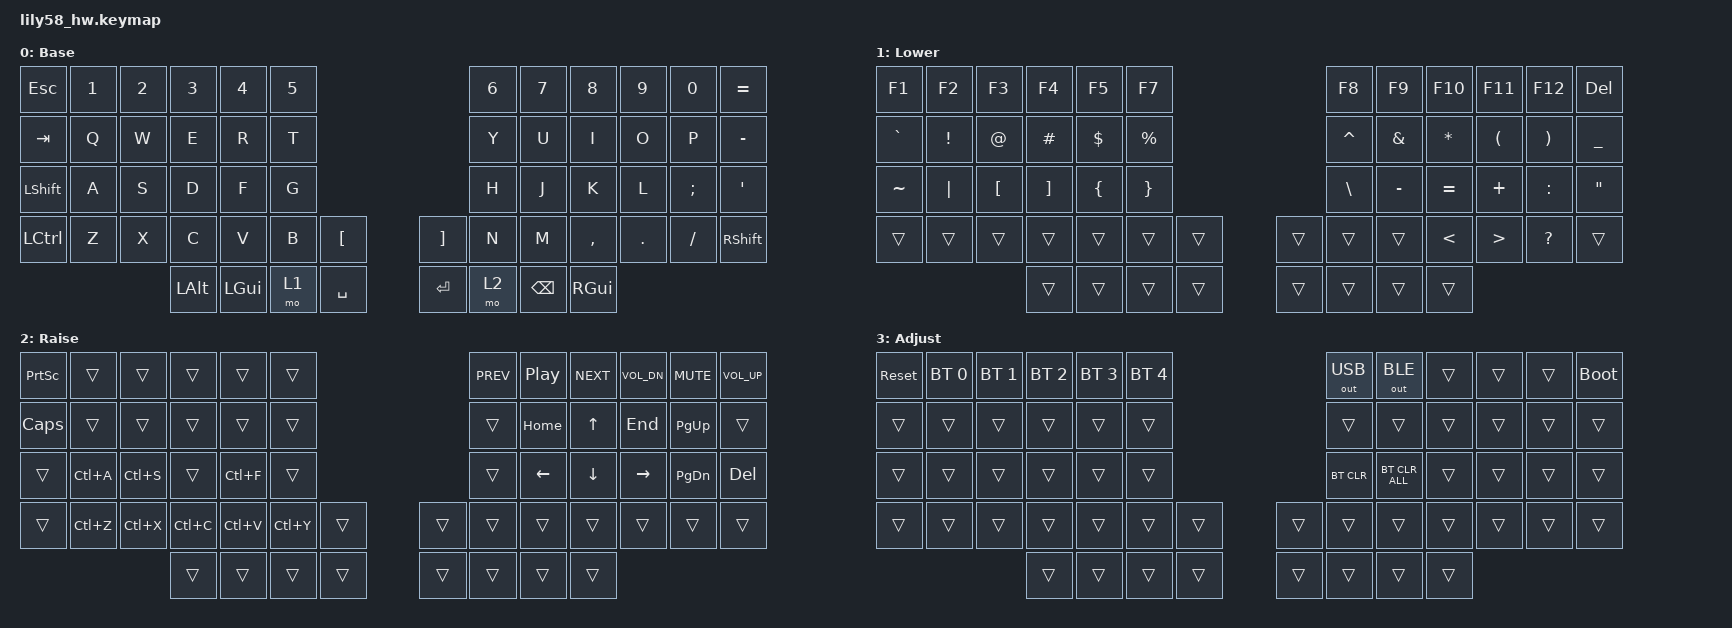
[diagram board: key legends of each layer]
/*
 * Lily58 (hand-wired, SuperMini nRF52840) - ZMK keymap
 *
 * 4 layers:
 *   0  Base    - plain QWERTY, standard Lily58 positions (changes: "=" top-right, Ctrl/Shift swapped)
 *   1  Lower   - F-keys, symbols, brackets, operators   (hold LEFT thumb  "Lower")
 *   2  Raise   - arrows, Home/End/PgUp/PgDn, edit shortcuts, media (hold RIGHT thumb "Raise")
 *   3  Adjust  - Bluetooth, USB/BLE output, reset, bootloader (hold Lower + Raise)
 *
 * Design rules:
 *   - Base is what every Lily58 ships with, so nothing to relearn for letters/numbers.
 *   - Arrows are an inverted-T on I J K L, same shape as a traditional keyboard.
 *   - Ctrl / Shift / Alt / GUI stay live on every layer, so Ctrl+Raise+Arrow (word jump),
 *     Ctrl+Shift+Raise+Arrow (word select) and Shift+Raise+Arrow (select) all just work.
 *   - Rarely used or risky stuff (Bluetooth clear, reset, bootloader) is only on Adjust,
 *     which needs both thumbs, so it cannot be hit by accident.
 *   - No combos, no home-row mods, no timing tricks: easy to learn, nothing misfires.
 *
 * Edit shortcuts on Raise use Ctrl (LC). On macOS replace every LC( with LG( in the Raise layer.
 */

#include <behaviors.dtsi>
#include <dt-bindings/zmk/bt.h>
#include <dt-bindings/zmk/keys.h>
#include <dt-bindings/zmk/outputs.h>


/ {
    conditional_layers {
        compatible = "zmk,conditional-layers";

        tri_layer {
            if-layers = <1 2>;
            then-layer = <3>;
        };
    };

    keymap {
        compatible = "zmk,keymap";

        base_layer {
            display-name = "Base";
// ------------------------------------------------------------------------------------------------------------
// |  ESC  |  1  |  2  |  3   |  4   |  5   |                   |  6   |  7    |  8    |  9   |   0   |   =   |
// |  TAB  |  Q  |  W  |  E   |  R   |  T   |                   |  Y   |  U    |  I    |  O   |   P   |   -   |
// | SHIFT |  A  |  S  |  D   |  F   |  G   |                   |  H   |  J    |  K    |  L   |   ;   |   '   |
// | CTRL  |  Z  |  X  |  C   |  V   |  B   |   [    |  |   ]   |  N   |  M    |  ,    |  .   |   /   | SHIFT |
//                    |  ALT  | GUI | LOWER | SPACE |  | ENTER | RAISE | BSPC | GUI |
            bindings = <
&kp ESC    &kp N1  &kp N2  &kp N3  &kp N4  &kp N5                             &kp N6  &kp N7  &kp N8    &kp N9   &kp N0   &kp EQUAL
&kp TAB    &kp Q   &kp W   &kp E   &kp R   &kp T                              &kp Y   &kp U   &kp I     &kp O    &kp P    &kp MINUS
&kp LSHFT  &kp A   &kp S   &kp D   &kp F   &kp G                              &kp H   &kp J   &kp K     &kp L    &kp SEMI &kp SQT
&kp LCTRL  &kp Z   &kp X   &kp C   &kp V   &kp B   &kp LBKT        &kp RBKT   &kp N   &kp M   &kp COMMA &kp DOT  &kp FSLH &kp RSHFT
                           &kp LALT &kp LGUI &mo 1 &kp SPACE        &kp ENTER &mo 2 &kp BSPC &kp RGUI
            >;
        };

        lower_layer {
            display-name = "Lower";
// ------------------------------------------------------------------------------------------------------------
// |  F1   |  F2 |  F3 |  F4  |  F5  |  F7  |                   |  F8  |  F9   |  F10  |  F11 |  F12  |  DEL  |
// |   `   |  !  |  @  |  #   |  $   |  %   |                   |  ^   |  &    |  *    |  (   |   )   |   _   |
// |   ~   |  |  |  [  |  ]   |  {   |  }   |                   |  \   |  -    |  =    |  +   |   :   |   "   |
// |       |     |     |      |      |      |        |  |        |      |       |  <    |  >   |   ?   |       |
//                    |       |     |       |       |  |       |       |      |     |
            bindings = <
&kp F1     &kp F2      &kp F3    &kp F4    &kp F5      &kp F7                       &kp F8     &kp F9    &kp F10   &kp F11    &kp F12   &kp DEL
&kp GRAVE  &kp EXCL    &kp AT    &kp HASH  &kp DOLLAR  &kp PRCNT                    &kp CARET  &kp AMPS  &kp ASTRK &kp LPAR   &kp RPAR  &kp UNDER
&kp TILDE  &kp PIPE    &kp LBKT  &kp RBKT  &kp LBRC    &kp RBRC                     &kp BSLH   &kp MINUS &kp EQUAL &kp PLUS   &kp COLON &kp DOUBLE_QUOTES
&trans     &trans      &trans    &trans    &trans      &trans      &trans   &trans  &trans     &trans    &kp LESS_THAN &kp GREATER_THAN &kp QUESTION &trans
                                           &trans &trans &trans &trans   &trans &trans &trans &trans
            >;
        };

        raise_layer {
            display-name = "Raise";
// ------------------------------------------------------------------------------------------------------------
// | PRTSC |     |     |      |      |      |                   | PREV | PLAY  | NEXT  | VOL- | MUTE  | VOL+  |
// | CAPS  |     |     |      |      |      |                   |      | HOME  |  UP   | END  | PGUP  |       |
// |       | ^A  | ^S  |      | ^F   |      |                   |      | LEFT  | DOWN  | RIGHT| PGDN  |  DEL  |
// |       | ^Z  | ^X  | ^C   | ^V   | ^Y   |        |  |        |      |       |       |      |       |       |
//                    |       |     |       |       |  |       |       |      |     |
// ^ = Ctrl (Cmd if you use LG): A select all, S save, F find, Z undo, X cut, C copy, V paste, Y redo
            bindings = <
&kp PSCRN    &trans         &trans         &trans    &trans         &trans                   &kp C_PREV &kp C_PP   &kp C_NEXT  &kp C_VOL_DN &kp C_MUTE  &kp C_VOL_UP
&kp CAPSLOCK &trans         &trans         &trans    &trans         &trans                   &trans     &kp HOME   &kp UP      &kp END      &kp PG_UP   &trans
&trans       &kp LC(A)  &kp LC(S)  &trans    &kp LC(F)  &trans                   &trans     &kp LEFT   &kp DOWN    &kp RIGHT    &kp PG_DN   &kp DEL
&trans       &kp LC(Z)  &kp LC(X)  &kp LC(C) &kp LC(V) &kp LC(Y) &trans   &trans    &trans     &trans      &trans       &trans      &trans      &trans
                                           &trans &trans &trans &trans   &trans &trans &trans &trans
            >;
        };

        adjust_layer {
            display-name = "Adjust";
// ------------------------------------------------------------------------------------------------------------
// | RESET | BT1 | BT2 |  BT3 |  BT4 |  BT5 |                   | USB  |  BLE  |       |      |       | BOOT  |
// |       |     |     |      |      |      |                   |      |       |       |      |       |       |
// |       |     |     |      |      |      |                   | BTCLR| CLRALL|       |      |       |       |
// |       |     |     |      |      |      |        |  |        |      |       |       |      |       |       |
//                    |       |     |       |       |  |       |       |      |     |
// Hold Lower + Raise to get here. BT1..BT5 sit on the 1..5 keys.
            bindings = <
&sys_reset &bt BT_SEL 0 &bt BT_SEL 1 &bt BT_SEL 2 &bt BT_SEL 3 &bt BT_SEL 4      &out OUT_USB &out OUT_BLE &trans &trans &trans &bootloader
&trans     &trans       &trans       &trans       &trans       &trans              &trans       &trans       &trans &trans &trans &trans
&trans     &trans       &trans       &trans       &trans       &trans              &bt BT_CLR   &bt BT_CLR_ALL &trans &trans &trans &trans
&trans     &trans       &trans       &trans       &trans       &trans &trans &trans &trans     &trans       &trans &trans &trans &trans
                                                    &trans &trans &trans &trans   &trans &trans &trans &trans
            >;
        };
    };
};
